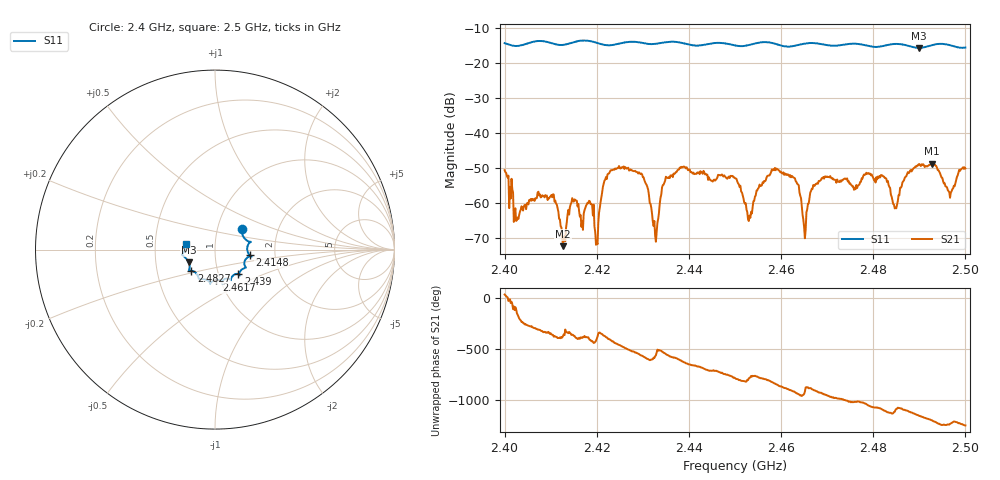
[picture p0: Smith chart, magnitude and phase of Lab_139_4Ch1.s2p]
# Hz S RI R 50
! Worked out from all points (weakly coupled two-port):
!   601 points, 2.4 GHz to 2.5 GHz, reference 50 ohm
!   highest |S21| = -48.80 dB at 2.4927 GHz (marker M1); lowest = -72.3 dB at 2.4127 GHz (marker M2)
!   lowest |S11| = -15.8 dB at 2.4898 GHz (marker M3), VSWR 1.39, Z = 36.9 - j5.4 ohm
!   |S11| at or under -10 dB: start of sweep to end of sweep
!   S12 and S22 are empty: the file has one direction only
!   S11 on the Smith chart (normalised r, x): 2.4 GHz: 1.31, +0.32; 2.4148 GHz: 1.47, -0.10; 2.439 GHz: 1.24, -0.35; 2.4617 GHz: 0.96, -0.33; 2.4827 GHz: 0.75, -0.18; 2.5 GHz: 0.72, +0.05
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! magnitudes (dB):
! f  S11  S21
! 2.4 GHz  -14.4  -50.6
! 2.4025 GHz  -15.2  -65.1
! 2.4102 GHz  -14.4  -57.7
! 2.4127 GHz  -14.9  -72.3
! 2.4148 GHz  -14.2  -59.1
! 2.4167 GHz  -13.7  -66.8
! 2.42 GHz  -14.3  -71.2
! 2.4218 GHz  -14.9  -53.4
! 2.4253 GHz  -14.4  -49.8
! 2.4333 GHz  -14.5  -64.5
! 2.439 GHz  -14.5  -49.6
! 2.45 GHz  -15.1  -52.9
! 2.4532 GHz  -14.9  -63.6
! 2.4617 GHz  -15.4  -52.0
! 2.465 GHz  -14.6  -66.9
! 2.4667 GHz  -14.4  -55.9
! 2.4827 GHz  -15.1  -52.8
! 2.4833 GHz  -14.9  -54.9
! 2.4898 GHz  -15.8  -49.0
! 2.4927 GHz  -15.0  -48.8
! 2.4967 GHz  -15.0  -58.5
! 2.5 GHz  -15.7  -50.2
